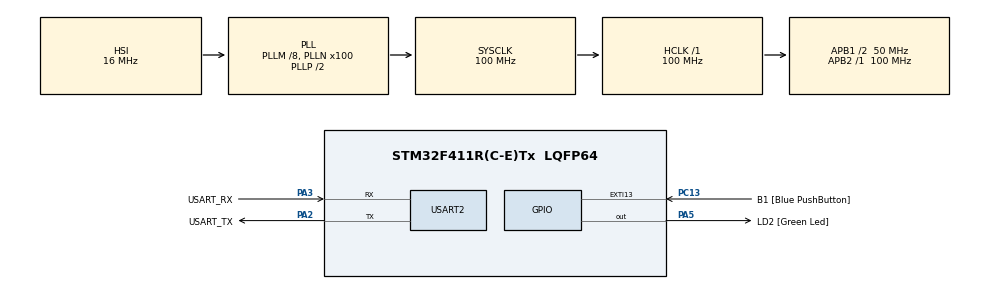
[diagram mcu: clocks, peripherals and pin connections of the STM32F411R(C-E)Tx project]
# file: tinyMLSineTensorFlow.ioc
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Mcu.Family=STM32F4
Mcu.Name=STM32F411R(C-E)Tx
Mcu.Package=LQFP64
NVIC.PriorityGroup=NVIC_PRIORITYGROUP_0
PA13.GPIO_Label=TMS
PA13.Mode=Serial_Wire
PA13.Signal=SYS_JTMS-SWDIO
PA14.GPIO_Label=TCK
PA14.Mode=Serial_Wire
PA14.Signal=SYS_JTCK-SWCLK
PA2.GPIO_Label=USART_TX
PA2.Mode=Asynchronous
PA2.Signal=USART2_TX
PA3.GPIO_Label=USART_RX
PA3.Mode=Asynchronous
PA3.Signal=USART2_RX
PA5.GPIO_Label=LD2 [Green Led]
PA5.Signal=GPIO_Output
PB3.GPIO_Label=SWO
PB3.Signal=SYS_JTDO-SWO
PC13-ANTI_TAMP.GPIO_Label=B1 [Blue PushButton]
PC13-ANTI_TAMP.GPIO_ModeDefaultEXTI=GPIO_MODE_IT_FALLING
PC13-ANTI_TAMP.Signal=GPXTI13
PC14-OSC32_IN.Mode=LSE-External-Oscillator
PC14-OSC32_IN.Signal=RCC_OSC32_IN
PC15-OSC32_OUT.Mode=LSE-External-Oscillator
PC15-OSC32_OUT.Signal=RCC_OSC32_OUT
PH0\ -\ OSC_IN.Mode=HSE-External-Clock-Source
PH0\ -\ OSC_IN.Signal=RCC_OSC_IN
PH1\ -\ OSC_OUT.Mode=HSE-External-Clock-Source
PH1\ -\ OSC_OUT.Signal=RCC_OSC_OUT
ProjectManager.HeapSize=0x800
ProjectManager.StackSize=0x1000
ProjectManager.TargetToolchain=STM32CubeIDE
RCC.48MHZClocksFreq_Value=28571428.57142857
RCC.AHBFreq_Value=100000000
RCC.APB1CLKDivider=RCC_HCLK_DIV2
RCC.APB1Freq_Value=50000000
RCC.APB1TimFreq_Value=100000000
RCC.APB2Freq_Value=100000000
RCC.APB2TimFreq_Value=100000000
RCC.CortexFreq_Value=100000000
RCC.FLatency-AdvancedSettings=FLASH_LATENCY_3
RCC.HCLKFreq_Value=100000000
RCC.HSE_VALUE=8000000
RCC.HSI_VALUE=16000000
RCC.PLLM=8
RCC.PLLMUL=RCC_PLL_MUL9
RCC.PLLN=100
RCC.PLLQ=7
RCC.RCC_PLLsource_Clock_Source_FROM_HSE=RCC_HSE_PREDIV_DIV2
RCC.SYSCLKFreq_VALUE=100000000
RCC.SYSCLKSource=RCC_SYSCLKSOURCE_PLLCLK
RCC.SYSCLKSourceVirtual=RCC_SYSCLKSOURCE_PLLCLK
RCC.VCOOutputFreq_Value=200000000
STMicroelectronics.X-CUBE-AI.7.2.0.ActivationBufferSizeList=2056
STMicroelectronics.X-CUBE-AI.7.2.0.ActivationBuffers=pool0
STMicroelectronics.X-CUBE-AI.7.2.0.ActivationNames=pool0
STMicroelectronics.X-CUBE-AI.7.2.0.ActivationSizes=AI_NETWORK_DATA_ACTIVATION_1_SIZE
STMicroelectronics.X-CUBE-AI.7.2.0.HeapSize=0x800
STMicroelectronics.X-CUBE-AI.7.2.0.InternalRamActivationBufferMaxSize=AI_NETWORK_DATA_ACTIVATIONS_SIZE
STMicroelectronics.X-CUBE-AI.7.2.0.LatestDirectoryUsed-93f804efcf1787db6eac78e3597887c740a404ece6a21758a6c6efd85ad927e8=/home/jutoroa/Downloads
STMicroelectronics.X-CUBE-AI.7.2.0.MaximumNumberOfInputLayer=1
STMicroelectronics.X-CUBE-AI.7.2.0.MaximumNumberOfOutputLayer=1
STMicroelectronics.X-CUBE-AI.7.2.0.MaximumSizeOfInputLayer=1
STMicroelectronics.X-CUBE-AI.7.2.0.MaximumSizeOfOutputLayer=1
STMicroelectronics.X-CUBE-AI.7.2.0.ModelActualCompression-93f804efcf1787db6eac78e3597887c740a404ece6a21758a6c6efd85ad927e8=0.0
STMicroelectronics.X-CUBE-AI.7.2.0.ModelCompression-93f804efcf1787db6eac78e3597887c740a404ece6a21758a6c6efd85ad927e8=None
STMicroelectronics.X-CUBE-AI.7.2.0.ModelFlashOccupation-93f804efcf1787db6eac78e3597887c740a404ece6a21758a6c6efd85ad927e8=13424
STMicroelectronics.X-CUBE-AI.7.2.0.ModelHashList=93f804efcf1787db6eac78e3597887c740a404ece6a21758a6c6efd85ad927e8
STMicroelectronics.X-CUBE-AI.7.2.0.ModelKind-93f804efcf1787db6eac78e3597887c740a404ece6a21758a6c6efd85ad927e8=TFLITE
STMicroelectronics.X-CUBE-AI.7.2.0.ModelMacc-93f804efcf1787db6eac78e3597887c740a404ece6a21758a6c6efd85ad927e8=353
STMicroelectronics.X-CUBE-AI.7.2.0.ModelName-93f804efcf1787db6eac78e3597887c740a404ece6a21758a6c6efd85ad927e8=network
STMicroelectronics.X-CUBE-AI.7.2.0.ModelNameList=network
STMicroelectronics.X-CUBE-AI.7.2.0.ModelRamOccupation-93f804efcf1787db6eac78e3597887c740a404ece6a21758a6c6efd85ad927e8=2056
STMicroelectronics.X-CUBE-AI.7.2.0.ModelStructureFile-93f804efcf1787db6eac78e3597887c740a404ece6a21758a6c6efd85ad927e8=/home/jutoroa/Downloads/modelo_seno.tflite
STMicroelectronics.X-CUBE-AI.7.2.0.ModelType-93f804efcf1787db6eac78e3597887c740a404ece6a21758a6c6efd85ad927e8=TFLite Micro runtime
STMicroelectronics.X-CUBE-AI.7.2.0.ReadyForCodeGeneration=true
STMicroelectronics.X-CUBE-AI.7.2.0.StackSize=0x1000
STMicroelectronics.X-CUBE-AI.7.2.0.WorkingBufferStartAddrList=0xFFFFFFFF
STMicroelectronics.X-CUBE-AI.7.2.0.XAaCUBEAaAICcArtificialOoIntelligenceJjCore=true
STMicroelectronics.X-CUBE-AI.7.2.0.tfliteruntime=true
TIM11.Prescaler=100-1
USART2.VirtualMode=VM_ASYNC
VP_CRC_VS_CRC.Mode=CRC_Activate
VP_STMicroelectronics.X-CUBE-AI_VS_ArtificialOoIntelligenceJjXAaCUBEAaAI_7.2.0_7.2.0.Mode=ArtificialOoIntelligenceJjXAaCUBEAaAI
VP_TIM11_VS_ClockSourceINT.Mode=Enable_Timer
board=NUCLEO-F411RE

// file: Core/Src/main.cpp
/* USER CODE BEGIN Header */
/**
  ******************************************************************************
  * @file           : main.c
  * @brief          : Main program body
  ******************************************************************************
  * @attention
  *
  * Copyright (c) 2022 STMicroelectronics.
  * All rights reserved.
  *
  * This software is licensed under terms that can be found in the LICENSE file
  * in the root directory of this software component.
  * If no LICENSE file comes with this software, it is provided AS-IS.
  *
  ******************************************************************************
  */
/* USER CODE END Header */
#include "main.h"

/* USER CODE BEGIN Includes */
#include <string.h>

#include "tensorflow/lite/micro/kernels/micro_ops.h"
#include "tensorflow/lite/micro/micro_error_reporter.h"
#include "tensorflow/lite/micro/micro_interpreter.h"
#include "tensorflow/lite/micro/micro_mutable_op_resolver.h"
#include "modelo_seno.h"
/* USER CODE END Includes */

 CRC_HandleTypeDef hcrc;

TIM_HandleTypeDef htim11;

UART_HandleTypeDef huart2;

/* USER CODE BEGIN PV */
namespace{
	tflite::ErrorReporter* error_reporter = nullptr;
	const tflite::Model* model = nullptr;
	tflite::MicroInterpreter* interpreter = nullptr;
	TfLiteTensor* model_input = nullptr;
	TfLiteTensor* model_output = nullptr;

	// Create an area of memory to use for input, and other TensorFLow
	// arrays, You'll need to adjust this by compiling, running, and looking
	// for error
	constexpr int kTensorArenaSize = 2 * 1024;
	__attribute__((aligned(16)))uint8_t tensor_arena[kTensorArenaSize];

} // namespace
/* USER CODE END PV */

void SystemClock_Config(void);
static void MX_GPIO_Init(void);
static void MX_USART2_UART_Init(void);
static void MX_CRC_Init(void);
static void MX_TIM11_Init(void);

int main(void)
{
  /* USER CODE BEGIN 1 */

	char buf[50];
	int buf_len = 0;
	TfLiteStatus tflite_status;
	uint32_t num_elements;
	unsigned int timestamp;
	float y_val;

  /* USER CODE END 1 */

  /* MCU Configuration--------------------------------------------------------*/

  /* Reset of all peripherals, Initializes the Flash interface and the Systick. */
  HAL_Init();

  /* Configure the system clock */
  SystemClock_Config();

  /* Initialize all configured peripherals */
  MX_GPIO_Init();
  MX_USART2_UART_Init();
  MX_CRC_Init();
  MX_TIM11_Init();
  /* USER CODE BEGIN 2 */

  // Start timer/counter
   HAL_TIM_Base_Start(&htim11);

   // Set up logging (modify tensorflow/lite/micro/debug_log.cc)
   static tflite::MicroErrorReporter micro_error_reporter;
   error_reporter = &micro_error_reporter;

   // Say something to test error reporter
   error_reporter ->Report("STM32 TensorFlow Lite test");

   // Map the model into a usable data structure
   model = tflite::GetModel(sine_model);
   if(model->version() != TFLITE_SCHEMA_VERSION){
 	  error_reporter->Report("Model version does not match Schema");
 	  while(1);
   }

   // Pull in only needed operations (should match NN layers). Template parameter
   // <n> is number of ops to be added. Available ops:
   // tensorflow/lite/micro/kernels/micro_ops.h
   static tflite::MicroMutableOpResolver<1> micro_op_resolver;
   tflite_status = micro_op_resolver.AddFullyConnected();

 //  // Add dense neural network layer operation
 //  TfLiteStatus = micro_op_resolver.AddBuiltin(
 //	tflite::BuiltinOperator_FULLY_CONNECTED,
 //	tflite::ops::micro::Register_FULLY_CONNECTED());

   if(tflite_status != kTfLiteOk){
 	  error_reporter -> Report("Could not add FULLY CONNECTED op");
 	  while(1);
   }

   // Build an interpreter to run the model with.
   static tflite::MicroInterpreter static_interpreter(
 		  model, micro_op_resolver, tensor_arena, kTensorArenaSize, error_reporter);
   interpreter = &static_interpreter;

   // Allocate memory from the tensor_arena for the model's
 	tflite_status = interpreter -> AllocateTensors();
 	if(tflite_status != kTfLiteOk){
 	  error_reporter -> Report("AllocateTensors() failed");
 	  while(1);
 	}

 	// Assign model input and output buffers(tensors) to pointers
 	model_input = interpreter -> input(0);
 	model_output = interpreter -> output(0);

 	// Get number of elements in input tensor
 	num_elements = model_input -> bytes/sizeof(float);
 	buf_len = sprintf(buf, "Number of input elements: %lu\r\n", num_elements);
 	HAL_UART_Transmit(&huart2, (uint8_t *)buf, buf_len, 100);

  /* USER CODE END 2 */

  /* Infinite loop */
  /* USER CODE BEGIN WHILE */
  while (1)
  {
	  // State LED
	  HAL_GPIO_TogglePin(GPIOA, GPIO_PIN_5);

	  // Fill input buffer (use test value)
	  for(uint32_t i = 0; i < num_elements; i++){
		  model_input -> data.f[i] = 2.0f;
	  }

	  // Get current timestamp
	  timestamp = htim11.Instance -> CNT;

	  // Run inference
	  tflite_status = interpreter -> Invoke();
	  if(tflite_status != kTfLiteOk){
		  error_reporter -> Report("Invoke failed");
	  }

	  // Read output (predicted y) of neural network
	  y_val = model_output -> data.f[0];

	  // Print output of neural network along with inference time (microseconds)
	  buf_len = sprintf(buf, "Output: %f | Duration: %u\r\n", y_val,(unsigned int) htim11.Instance -> CNT - timestamp);
	  HAL_UART_Transmit(&huart2, (uint8_t *)buf, buf_len, 100);

	  // Wait before doing it again
	  HAL_Delay(500);

    /* USER CODE END WHILE */

  }
}

void SystemClock_Config(void)
{
  RCC_OscInitTypeDef RCC_OscInitStruct = {0};
  RCC_ClkInitTypeDef RCC_ClkInitStruct = {0};

  /** Configure the main internal regulator output voltage
  */
  __HAL_RCC_PWR_CLK_ENABLE();
  __HAL_PWR_VOLTAGESCALING_CONFIG(PWR_REGULATOR_VOLTAGE_SCALE1);

  /** Initializes the RCC Oscillators according to the specified parameters
  * in the RCC_OscInitTypeDef structure.
  */
  RCC_OscInitStruct.OscillatorType = RCC_OSCILLATORTYPE_HSI;
  RCC_OscInitStruct.HSIState = RCC_HSI_ON;
  RCC_OscInitStruct.HSICalibrationValue = RCC_HSICALIBRATION_DEFAULT;
  RCC_OscInitStruct.PLL.PLLState = RCC_PLL_ON;
  RCC_OscInitStruct.PLL.PLLSource = RCC_PLLSOURCE_HSI;
  RCC_OscInitStruct.PLL.PLLM = 8;
  RCC_OscInitStruct.PLL.PLLN = 100;
  RCC_OscInitStruct.PLL.PLLP = RCC_PLLP_DIV2;
  RCC_OscInitStruct.PLL.PLLQ = 7;
  if (HAL_RCC_OscConfig(&RCC_OscInitStruct) != HAL_OK)
  {
    Error_Handler();
  }

  /** Initializes the CPU, AHB and APB buses clocks
  */
  RCC_ClkInitStruct.ClockType = RCC_CLOCKTYPE_HCLK|RCC_CLOCKTYPE_SYSCLK
                              |RCC_CLOCKTYPE_PCLK1|RCC_CLOCKTYPE_PCLK2;
  RCC_ClkInitStruct.SYSCLKSource = RCC_SYSCLKSOURCE_PLLCLK;
  RCC_ClkInitStruct.AHBCLKDivider = RCC_SYSCLK_DIV1;
  RCC_ClkInitStruct.APB1CLKDivider = RCC_HCLK_DIV2;
  RCC_ClkInitStruct.APB2CLKDivider = RCC_HCLK_DIV1;

  if (HAL_RCC_ClockConfig(&RCC_ClkInitStruct, FLASH_LATENCY_3) != HAL_OK)
  {
    Error_Handler();
  }
}

static void MX_CRC_Init(void)
{

  hcrc.Instance = CRC;
  if (HAL_CRC_Init(&hcrc) != HAL_OK)
  {
    Error_Handler();
  }

}

static void MX_TIM11_Init(void)
{

  htim11.Instance = TIM11;
  htim11.Init.Prescaler = 100-1;
  htim11.Init.CounterMode = TIM_COUNTERMODE_UP;
  htim11.Init.Period = 65535;
  htim11.Init.ClockDivision = TIM_CLOCKDIVISION_DIV1;
  htim11.Init.AutoReloadPreload = TIM_AUTORELOAD_PRELOAD_DISABLE;
  if (HAL_TIM_Base_Init(&htim11) != HAL_OK)
  {
    Error_Handler();
  }

}

static void MX_USART2_UART_Init(void)
{

  huart2.Instance = USART2;
  huart2.Init.BaudRate = 115200;
  huart2.Init.WordLength = UART_WORDLENGTH_8B;
  huart2.Init.StopBits = UART_STOPBITS_1;
  huart2.Init.Parity = UART_PARITY_NONE;
  huart2.Init.Mode = UART_MODE_TX_RX;
  huart2.Init.HwFlowCtl = UART_HWCONTROL_NONE;
  huart2.Init.OverSampling = UART_OVERSAMPLING_16;
  if (HAL_UART_Init(&huart2) != HAL_OK)
  {
    Error_Handler();
  }

}

static void MX_GPIO_Init(void)
{
  GPIO_InitTypeDef GPIO_InitStruct = {0};

  /* GPIO Ports Clock Enable */
  __HAL_RCC_GPIOC_CLK_ENABLE();
  __HAL_RCC_GPIOH_CLK_ENABLE();
  __HAL_RCC_GPIOA_CLK_ENABLE();
  __HAL_RCC_GPIOB_CLK_ENABLE();

  /*Configure GPIO pin Output Level */
  HAL_GPIO_WritePin(LD2_GPIO_Port, LD2_Pin, GPIO_PIN_RESET);

  /*Configure GPIO pin : B1_Pin */
  GPIO_InitStruct.Pin = B1_Pin;
  GPIO_InitStruct.Mode = GPIO_MODE_IT_FALLING;
  GPIO_InitStruct.Pull = GPIO_NOPULL;
  HAL_GPIO_Init(B1_GPIO_Port, &GPIO_InitStruct);

  /*Configure GPIO pin : LD2_Pin */
  GPIO_InitStruct.Pin = LD2_Pin;
  GPIO_InitStruct.Mode = GPIO_MODE_OUTPUT_PP;
  GPIO_InitStruct.Pull = GPIO_NOPULL;
  GPIO_InitStruct.Speed = GPIO_SPEED_FREQ_LOW;
  HAL_GPIO_Init(LD2_GPIO_Port, &GPIO_InitStruct);

}

/* USER CODE BEGIN 4 */
// Custom implementation of DebugLog from TensorFlow
extern "C" void DebugLog(const char* s){
	HAL_UART_Transmit(&huart2, (uint8_t *)s, strlen(s), 100);
}
/* USER CODE END 4 */

void Error_Handler(void)
{
  __disable_irq();
  while (1)
  {
  }
}
